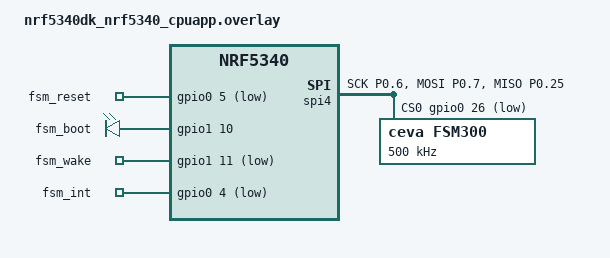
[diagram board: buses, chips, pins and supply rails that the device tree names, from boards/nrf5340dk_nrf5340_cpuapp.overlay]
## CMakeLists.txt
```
cmake_minimum_required(VERSION 3.20.0)

find_package(Zephyr REQUIRED HINTS $ENV{ZEPHYR_BASE})
project(asr_fc_ceva_flight_probe C)

set(ASR_FC_ROOT ${CMAKE_CURRENT_LIST_DIR}/../../../..)

target_sources(app PRIVATE
    src/main.c
    src/ceva_spi_hal.c
    ${ASR_FC_ROOT}/application/flight/flight_core.c
    ${ASR_FC_ROOT}/application/sensors/ceva_fsm300_adapter.c
    ${ASR_FC_ROOT}/modules/controlSystems/src/pid.c
    ${ASR_FC_ROOT}/modules/controlSystems/src/mixer.c
    ${ASR_FC_ROOT}/modules/attitudeMathLibrary/src/quaternion.c
    ${ASR_FC_ROOT}/modules/ceva_sh2/sh2.c
    ${ASR_FC_ROOT}/modules/ceva_sh2/shtp.c
    ${ASR_FC_ROOT}/modules/ceva_sh2/sh2_util.c
    ${ASR_FC_ROOT}/modules/ceva_sh2/sh2_SensorValue.c)

target_include_directories(app PRIVATE
    src
    ${ASR_FC_ROOT}/include
    ${ASR_FC_ROOT}/modules/controlSystems/include
    ${ASR_FC_ROOT}/modules/attitudeMathLibrary/include
    ${ASR_FC_ROOT}/modules/ceva_sh2)
```

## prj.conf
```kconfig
CONFIG_PRINTK=y
CONFIG_CONSOLE=y
CONFIG_SERIAL=y
CONFIG_SPI=y
CONFIG_GPIO=y
CONFIG_FPU=y
CONFIG_NEWLIB_LIBC=y
CONFIG_MAIN_STACK_SIZE=8192
```

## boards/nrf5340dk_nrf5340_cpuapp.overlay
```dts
#include <dt-bindings/gpio/gpio.h>
#include <dt-bindings/pinctrl/nrf-pinctrl.h>

/ {
    fsm_control {
        compatible = "gpio-leds";

        fsm_reset: fsm_reset {
            gpios = <&gpio0 5 GPIO_ACTIVE_LOW>;
        };
        fsm_boot: fsm_boot {
            gpios = <&gpio1 10 GPIO_ACTIVE_HIGH>;
        };
        fsm_wake: fsm_wake {
            gpios = <&gpio1 11 GPIO_ACTIVE_LOW>;
        };
    };

    fsm_interrupts {
        compatible = "gpio-keys";

        fsm_int: fsm_int {
            gpios = <&gpio0 4 (GPIO_PULL_UP | GPIO_ACTIVE_LOW)>;
        };
    };

    aliases {
        fsm-reset = &fsm_reset;
        fsm-boot = &fsm_boot;
        fsm-wake = &fsm_wake;
        fsm-int = &fsm_int;
    };
};

&pinctrl {
    fsm_spi_default: fsm_spi_default {
        group1 {
            psels = <NRF_PSEL(SPIM_SCK, 0, 6)>,
                    <NRF_PSEL(SPIM_MOSI, 0, 7)>,
                    <NRF_PSEL(SPIM_MISO, 0, 25)>;
        };
    };

    fsm_spi_sleep: fsm_spi_sleep {
        group1 {
            psels = <NRF_PSEL(SPIM_SCK, 0, 6)>,
                    <NRF_PSEL(SPIM_MOSI, 0, 7)>,
                    <NRF_PSEL(SPIM_MISO, 0, 25)>;
            low-power-enable;
        };
    };
};

&spi4 {
    compatible = "nordic,nrf-spim";
    status = "okay";
    pinctrl-0 = <&fsm_spi_default>;
    pinctrl-1 = <&fsm_spi_sleep>;
    pinctrl-names = "default", "sleep";
    cs-gpios = <&gpio0 26 GPIO_ACTIVE_LOW>;

    fsm300: fsm300@0 {
        compatible = "ceva,fsm300";
        reg = <0>;
        spi-max-frequency = <500000>;
    };
};
```

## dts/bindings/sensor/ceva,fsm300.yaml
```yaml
description: CEVA FSM300 sensor hub using the SH-2 protocol over SPI

compatible: "ceva,fsm300"

include: spi-device.yaml
```

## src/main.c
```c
#include "ceva_spi_hal.h"

#include "asr_fc/flight/flight_core.h"
#include "asr_fc/sensors/ceva_fsm300_adapter.h"
#include "sh2.h"
#include "sh2_SensorValue.h"
#include "sh2_err.h"

#include <string.h>

#include <zephyr/kernel.h>
#include <zephyr/sys/printk.h>

#define SENSOR_PERIOD_US 40000u
#define DIAGNOSTIC_PERIOD 25u

enum { ASR_FC_PHYSICAL_OUTPUTS_ENABLED = 0 };
BUILD_ASSERT(ASR_FC_PHYSICAL_OUTPUTS_ENABLED == 0,
             "The CEVA flight probe must not drive physical outputs");

static asr_fc_ceva_adapter_t adapter;
static asr_fc_flight_core_t flight_core;
static asr_fc_guidance_t guidance;
static bool guidance_initialized;
static uint32_t decoded_reports;
static uint32_t complete_samples;
static uint32_t rejected_reports;

static uint64_t host_monotonic_us(void) {
    return k_ticks_to_us_floor64(k_uptime_ticks());
}

static asr_fc_flight_config_t flight_config(void) {
    asr_fc_flight_config_t config = {
        .attitude_gains = {
            {.kp = 0.30, .ki = 0.01, .kd = 0.05,
             .integrator_limit = 0.20, .output_limit = 0.50},
            {.kp = 0.30, .ki = 0.01, .kd = 0.05,
             .integrator_limit = 0.20, .output_limit = 0.50},
            {.kp = 0.20, .ki = 0.00, .kd = 0.03,
             .integrator_limit = 0.00, .output_limit = 0.20},
        },
        .rate_weight = 1.0,
        .max_rotor_speed_rad_s = 1000.0,
        .min_dt_s = 0.020,
        .max_dt_s = 0.060,
        .sensor_timeout_us = 100000u,
        .minimum_ceva_accuracy = 1u,
    };
    const double positions[4][3] = {
        {0.18, 0.18, 0.0}, {-0.18, 0.18, 0.0},
        {-0.18, -0.18, 0.0}, {0.18, -0.18, 0.0},
    };
    const double directions[4] = {1.0, -1.0, 1.0, -1.0};
    for (size_t index = 0; index < 4u; ++index) {
        memcpy(config.rotors[index].position, positions[index],
               sizeof(positions[index]));
        config.rotors[index].axis[2] = 1.0;
        config.rotors[index].direction = directions[index];
        config.rotors[index].thrust_coeff = 8.0e-6;
        config.rotors[index].torque_coeff = 1.2e-7;
    }
    return config;
}

static void async_event(void *cookie, sh2_AsyncEvent_t *event) {
    ARG_UNUSED(cookie);
    printk("ASR_FC_CEVA async_event=%u\n", event->eventId);
}

static void process_complete_sample(uint64_t now_us) {
    asr_fc_ceva_sample_t sample;
    const asr_fc_ceva_adapter_result_t adapter_result =
        asr_fc_ceva_adapter_take_sample(&adapter, now_us, &sample);
    if (adapter_result != ASR_FC_CEVA_ADAPTER_OK) {
        return;
    }
    if (!guidance_initialized) {
        memcpy(guidance.quaternion, sample.quaternion,
               sizeof(guidance.quaternion));
        guidance.collective_thrust_n = 11.76798;
        guidance.arm_requested = true;
        guidance_initialized = true;
    }

    asr_fc_flight_output_t output;
    const asr_fc_step_result_t step = asr_fc_flight_step(
        &flight_core, &sample, NULL, &guidance, now_us, &output);
    complete_samples += 1u;
    if (complete_samples % DIAGNOSTIC_PERIOD == 0u ||
        step != ASR_FC_STEP_OK) {
        printk("ASR_FC_CEVA sample=%u step=%d status=%u "
               "q=%d,%d,%d,%d gyro_mrad=%d,%d,%d "
               "virtual_q15=%u,%u,%u,%u physical_outputs=0\n",
               sample.sequence, step, sample.accuracy,
               (int)(sample.quaternion[0] * 1000000.0),
               (int)(sample.quaternion[1] * 1000000.0),
               (int)(sample.quaternion[2] * 1000000.0),
               (int)(sample.quaternion[3] * 1000000.0),
               (int)(sample.angular_rate[0] * 1000.0),
               (int)(sample.angular_rate[1] * 1000.0),
               (int)(sample.angular_rate[2] * 1000.0),
               output.motor_q15[0], output.motor_q15[1],
               output.motor_q15[2], output.motor_q15[3]);
    }
}

static void sensor_event(void *cookie, sh2_SensorEvent_t *event) {
    ARG_UNUSED(cookie);
    sh2_SensorValue_t value;
    if (sh2_decodeSensorEvent(&value, event) != SH2_OK) {
        rejected_reports += 1u;
        return;
    }
    decoded_reports += 1u;
    const uint64_t received_at_us = host_monotonic_us();

    asr_fc_ceva_adapter_result_t result =
        ASR_FC_CEVA_ADAPTER_INVALID_VALUE;
    if (value.sensorId == SH2_GAME_ROTATION_VECTOR) {
        const double quaternion[4] = {
            value.un.gameRotationVector.real,
            value.un.gameRotationVector.i,
            value.un.gameRotationVector.j,
            value.un.gameRotationVector.k,
        };
        result = asr_fc_ceva_adapter_update_rotation(
            &adapter, quaternion, value.status, value.timestamp,
            received_at_us);
    } else if (value.sensorId == SH2_GYROSCOPE_CALIBRATED) {
        const double angular_rate[3] = {
            value.un.gyroscope.x,
            value.un.gyroscope.y,
            value.un.gyroscope.z,
        };
        result = asr_fc_ceva_adapter_update_gyro(
            &adapter, angular_rate, value.timestamp, received_at_us);
    } else {
        return;
    }
    if (result != ASR_FC_CEVA_ADAPTER_OK) {
        rejected_reports += 1u;
        return;
    }
    process_complete_sample(host_monotonic_us());
}

static int enable_report(sh2_SensorId_t sensor_id) {
    const sh2_SensorConfig_t config = {
        .reportInterval_us = SENSOR_PERIOD_US,
        .batchInterval_us = 0u,
        .sensorSpecific = 0u,
    };
    return sh2_setSensorConfig(sensor_id, &config);
}

int main(void) {
    k_sleep(K_SECONDS(2));
    printk("ASR_FC_CEVA_PROBE boot physical_outputs=0 pwm=absent esc=absent\n");

    const asr_fc_ceva_adapter_config_t adapter_config = {
        .max_component_age_us = 100000u,
        .max_component_skew_us = 25000u,
        .minimum_quaternion_norm = 0.90,
        .maximum_quaternion_norm = 1.10,
    };
    asr_fc_flight_config_t config = flight_config();
    if (asr_fc_ceva_adapter_init(&adapter, &adapter_config) !=
            ASR_FC_CEVA_ADAPTER_OK ||
        asr_fc_flight_init(&flight_core, &config) != ASR_FC_STEP_OK) {
        printk("ASR_FC_CEVA_PROBE init_failed\n");
        return 1;
    }
    int result = sh2_open(asr_fc_ceva_spi_hal(), async_event, NULL);
    if (result != SH2_OK) {
        printk("ASR_FC_CEVA_PROBE sh2_open_failed=%d\n", result);
        return 2;
    }
    (void)sh2_setSensorCallback(sensor_event, NULL);
    result = enable_report(SH2_GAME_ROTATION_VECTOR);
    if (result == SH2_OK) {
        result = enable_report(SH2_GYROSCOPE_CALIBRATED);
    }
    if (result != SH2_OK) {
        printk("ASR_FC_CEVA_PROBE report_enable_failed=%d\n", result);
        sh2_close();
        return 3;
    }
    printk("ASR_FC_CEVA_PROBE reports_enabled period_us=%u\n",
           SENSOR_PERIOD_US);

    uint32_t last_health_ms = 0u;
    for (;;) {
        sh2_service();
        const uint32_t now_ms = k_uptime_get_32();
        if (now_ms - last_health_ms >= 5000u) {
            last_health_ms = now_ms;
            printk("ASR_FC_CEVA_HEALTH decoded=%u complete=%u rejected=%u "
                   "physical_outputs=0\n",
                   decoded_reports, complete_samples, rejected_reports);
        }
        k_sleep(K_MSEC(1));
    }
}
```

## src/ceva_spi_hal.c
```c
#include "ceva_spi_hal.h"

#include "sh2_err.h"

#include <string.h>

#include <zephyr/drivers/gpio.h>
#include <zephyr/drivers/spi.h>
#include <zephyr/kernel.h>

#define FSM_NODE DT_NODELABEL(fsm300)
#define FSM_TRANSFER_MAX SH2_HAL_MAX_TRANSFER_IN
#define FSM_RESET_DELAY_MS 10
#define FSM_START_DELAY_MS 200
#define FSM_WRITE_READY_TIMEOUT_MS 50

typedef struct {
    sh2_Hal_t api;
    struct gpio_callback interrupt_callback;
    uint8_t rx[FSM_TRANSFER_MAX];
    uint32_t interrupt_timestamp_us;
    volatile bool data_ready;
    bool opened;
} asr_fc_ceva_hal_t;

static asr_fc_ceva_hal_t hal;
static const struct spi_dt_spec spi = SPI_DT_SPEC_GET(
    FSM_NODE,
    SPI_WORD_SET(8) | SPI_TRANSFER_MSB | SPI_MODE_CPOL | SPI_MODE_CPHA |
        SPI_HOLD_ON_CS,
    0);
static const struct gpio_dt_spec reset_gpio =
    GPIO_DT_SPEC_GET(DT_ALIAS(fsm_reset), gpios);
static const struct gpio_dt_spec boot_gpio =
    GPIO_DT_SPEC_GET(DT_ALIAS(fsm_boot), gpios);
static const struct gpio_dt_spec wake_gpio =
    GPIO_DT_SPEC_GET(DT_ALIAS(fsm_wake), gpios);
static const struct gpio_dt_spec interrupt_gpio =
    GPIO_DT_SPEC_GET(DT_ALIAS(fsm_int), gpios);

static uint32_t now_us(void) {
    return k_cyc_to_us_floor32(k_cycle_get_32());
}

static void interrupt_handler(const struct device *device,
                              struct gpio_callback *callback,
                              uint32_t pins) {
    ARG_UNUSED(device);
    ARG_UNUSED(callback);
    ARG_UNUSED(pins);
    hal.interrupt_timestamp_us = now_us();
    hal.data_ready = true;
}

static int transceive(uint8_t *tx, uint8_t *rx, size_t length) {
    const struct spi_buf tx_buffer = {.buf = tx, .len = length};
    const struct spi_buf_set tx_set = {.buffers = &tx_buffer, .count = 1};
    struct spi_buf rx_buffer = {.buf = rx, .len = length};
    const struct spi_buf_set rx_set = {.buffers = &rx_buffer, .count = 1};
    return spi_transceive_dt(&spi, &tx_set, &rx_set);
}

static int read_transfer(uint8_t *buffer, unsigned capacity) {
    static uint8_t zeros[FSM_TRANSFER_MAX];
    uint8_t header[4] = {0};
    int result = transceive(zeros, header, sizeof(header));
    if (result != 0) {
        (void)spi_release(spi.bus, &spi.config);
        return SH2_ERR_IO;
    }

    const uint16_t length =
        (uint16_t)(((uint16_t)header[1] << 8u) | header[0]) & 0x7fffu;
    if (length < sizeof(header) || length > capacity ||
        length > FSM_TRANSFER_MAX) {
        (void)spi_release(spi.bus, &spi.config);
        return length == 0u ? 0 : SH2_ERR_BAD_PARAM;
    }
    memcpy(buffer, header, sizeof(header));
    if (length > sizeof(header)) {
        result = transceive(zeros, buffer + sizeof(header),
                            length - sizeof(header));
    }
    (void)spi_release(spi.bus, &spi.config);
    return result == 0 ? (int)length : SH2_ERR_IO;
}

static int ceva_open(sh2_Hal_t *self) {
    ARG_UNUSED(self);
    if (!spi_is_ready_dt(&spi) || !gpio_is_ready_dt(&reset_gpio) ||
        !gpio_is_ready_dt(&boot_gpio) || !gpio_is_ready_dt(&wake_gpio) ||
        !gpio_is_ready_dt(&interrupt_gpio)) {
        return SH2_ERR_IO;
    }
    if (gpio_pin_configure_dt(&reset_gpio, GPIO_OUTPUT_ACTIVE) != 0 ||
        gpio_pin_configure_dt(&boot_gpio, GPIO_OUTPUT_ACTIVE) != 0 ||
        gpio_pin_configure_dt(&wake_gpio, GPIO_OUTPUT_INACTIVE) != 0 ||
        gpio_pin_configure_dt(&interrupt_gpio, GPIO_INPUT) != 0) {
        return SH2_ERR_IO;
    }
    gpio_init_callback(&hal.interrupt_callback, interrupt_handler,
                       BIT(interrupt_gpio.pin));
    if (gpio_add_callback(interrupt_gpio.port, &hal.interrupt_callback) != 0 ||
        gpio_pin_interrupt_configure_dt(&interrupt_gpio,
                                        GPIO_INT_EDGE_TO_ACTIVE) != 0) {
        return SH2_ERR_IO;
    }

    hal.data_ready = false;
    k_sleep(K_MSEC(FSM_RESET_DELAY_MS));
    (void)gpio_pin_set_dt(&boot_gpio, 1);
    (void)gpio_pin_set_dt(&wake_gpio, 0);
    (void)gpio_pin_set_dt(&reset_gpio, 0);
    k_sleep(K_MSEC(FSM_START_DELAY_MS));
    hal.opened = true;
    return SH2_OK;
}

static void ceva_close(sh2_Hal_t *self) {
    ARG_UNUSED(self);
    (void)gpio_pin_interrupt_configure_dt(&interrupt_gpio, GPIO_INT_DISABLE);
    (void)gpio_pin_set_dt(&reset_gpio, 1);
    hal.opened = false;
    hal.data_ready = false;
}

static int ceva_read(sh2_Hal_t *self, uint8_t *buffer, unsigned length,
                     uint32_t *timestamp_us) {
    ARG_UNUSED(self);
    if (!hal.opened || buffer == NULL || timestamp_us == NULL) {
        return SH2_ERR_BAD_PARAM;
    }
    if (!hal.data_ready && gpio_pin_get_dt(&interrupt_gpio) == 0) {
        return 0;
    }
    hal.data_ready = false;
    *timestamp_us = hal.interrupt_timestamp_us;
    if (*timestamp_us == 0u) {
        *timestamp_us = now_us();
    }
    return read_transfer(buffer, length);
}

static int ceva_write(sh2_Hal_t *self, uint8_t *buffer, unsigned length) {
    ARG_UNUSED(self);
    if (!hal.opened || buffer == NULL || length == 0u ||
        length > FSM_TRANSFER_MAX) {
        return SH2_ERR_BAD_PARAM;
    }
    (void)gpio_pin_set_dt(&wake_gpio, 1);
    const int64_t deadline = k_uptime_get() + FSM_WRITE_READY_TIMEOUT_MS;
    while (gpio_pin_get_dt(&interrupt_gpio) == 0 && k_uptime_get() < deadline) {
        k_sleep(K_MSEC(1));
    }
    if (gpio_pin_get_dt(&interrupt_gpio) == 0) {
        (void)gpio_pin_set_dt(&wake_gpio, 0);
        return 0;
    }
    memset(hal.rx, 0, length);
    const int result = transceive(buffer, hal.rx, length);
    (void)spi_release(spi.bus, &spi.config);
    (void)gpio_pin_set_dt(&wake_gpio, 0);
    return result == 0 ? (int)length : SH2_ERR_IO;
}

static uint32_t ceva_time_us(sh2_Hal_t *self) {
    ARG_UNUSED(self);
    return now_us();
}

sh2_Hal_t *asr_fc_ceva_spi_hal(void) {
    hal.api.open = ceva_open;
    hal.api.close = ceva_close;
    hal.api.read = ceva_read;
    hal.api.write = ceva_write;
    hal.api.getTimeUs = ceva_time_us;
    return &hal.api;
}
```

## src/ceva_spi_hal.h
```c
#ifndef ASR_FC_CEVA_SPI_HAL_H
#define ASR_FC_CEVA_SPI_HAL_H

#include "sh2_hal.h"

sh2_Hal_t *asr_fc_ceva_spi_hal(void);

#endif
```
